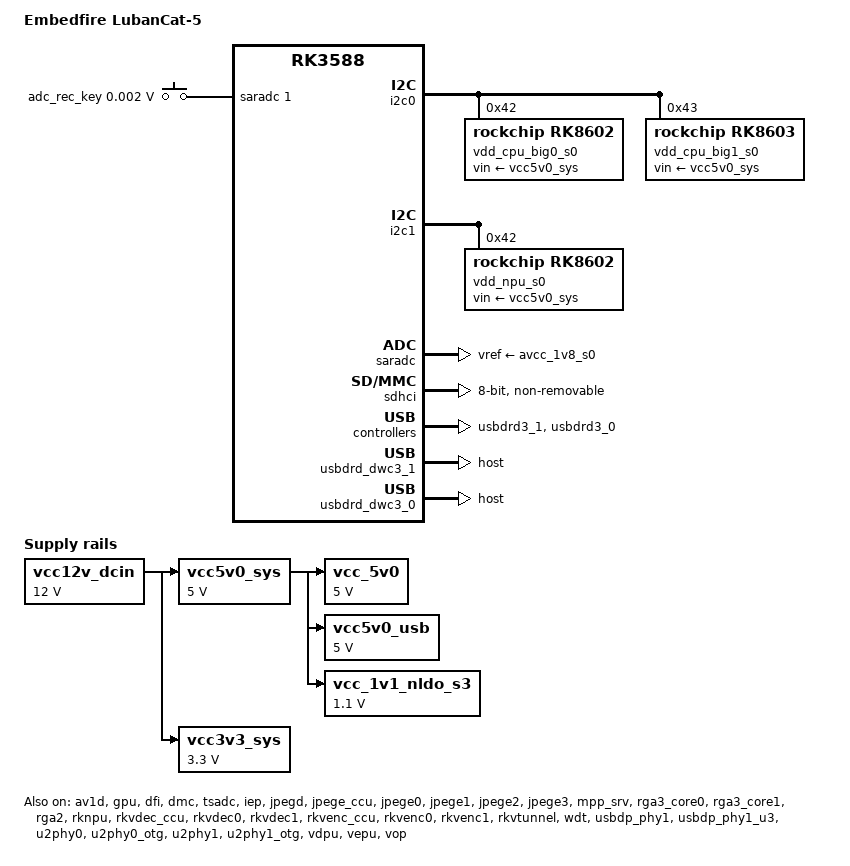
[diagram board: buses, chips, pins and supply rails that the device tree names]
// SPDX-License-Identifier: (GPL-2.0+ OR MIT)
/*
 * Copyright (c) 2021 Rockchip Electronics Co., Ltd.
 * Copyright (c) 2023 EmbedFire <embedfire@embedfire.com>
 */

/dts-v1/;

#include <dt-bindings/usb/pd.h>
#include <dt-bindings/gpio/gpio.h>
#include <dt-bindings/pwm/pwm.h>
#include <dt-bindings/pinctrl/rockchip.h>
//#include <dt-bindings/input/rk-input.h>
#include <dt-bindings/interrupt-controller/irq.h>
#include <dt-bindings/input/linux-event-codes.h>

#include <dt-bindings/display/drm_mipi_dsi.h>

#include <dt-bindings/display/rockchip_vop.h>
#include <dt-bindings/sensor-dev.h>
#include <dt-bindings/phy/jlsemi-dt-phy.h>
#include "rk3588.dtsi"
#include "rk3588-rk806-single.dtsi"
#include "rk3588-linux.dtsi"

//vp0
// #include "rk3588-lubancat-5-hdmi0-vp0.dtsi"
// #include "rk3588-lubancat-5-hdmi1-vp0.dtsi"

//vp1
// #include "rk3588-lubancat-5-dp0-vp1.dtsi"

//vp2 二选一
// #include "rk3588-lubancat-5-dp1-vp2-edp-port.dtsi"
// #include "rk3588-lubancat-5-hdmi1-vp2.dtsi"
// #include "rk3588-lubancat-5-dsi0-vp2-1080x1920-5.5inch-ebf410125.dtsi"
/* Camera */
// #include "rk3588-lubancat-5-csi.dtsi"

// #include "rk3588-lubancat-5-cam0.dtsi"
// #include "rk3588-lubancat-5-cam1.dtsi"
// #include "rk3588-lubancat-5-cam2.dtsi"
// #include "rk3588-lubancat-5-cam3.dtsi"
// #include "rk3588-lubancat-5-cam4.dtsi"
// #include "rk3588-lubancat-5-cam5.dtsi"

/ {
	model = "Embedfire LubanCat-5";
	compatible = "embedfire,rk3588-lubancat-5", "rockchip,rk3588";

	adc_rec_keys: adc-rec-keys {
		compatible = "adc-keys";
		io-channels = <&saradc 1>;
		io-channel-names = "buttons";
		keyup-threshold-microvolt = <1800000>;
		poll-interval = <100>;

		adc-rec-key {
			label = "adc_rec_key";
			linux,code = <250>;
			press-threshold-microvolt = <1750>;
		};
	};

	// leds: leds {
	// 	status = "okay";
	// 	compatible = "gpio-leds";

	// 	sys_led: sys-led {
	// 		label = "sys_led";
	// 		linux,default-trigger = "heartbeat";
	// 		default-state = "on";
	// 		gpios = <&gpio0 RK_PD3 GPIO_ACTIVE_LOW>;
	// 		pinctrl-names = "default";
	// 		pinctrl-0 = <&sys_led_pin>;
	// 	};
	// };

	vcc12v_dcin: vcc12v-dcin {
		compatible = "regulator-fixed";
		regulator-always-on;
		regulator-boot-on;
		regulator-min-microvolt = <12000000>;
		regulator-max-microvolt = <12000000>;
		regulator-name = "vcc12v_dcin";
	};

	vcc5v0_sys: vcc5v0-sys {
		compatible = "regulator-fixed";
		regulator-name = "vcc5v0_sys";
		regulator-always-on;
		regulator-boot-on;
		regulator-min-microvolt = <5000000>;
		regulator-max-microvolt = <5000000>;
		vin-supply = <&vcc12v_dcin>;
	};

	vcc3v3_sys: vcc3v3-sys {
		compatible = "regulator-fixed";
		regulator-name = "vcc3v3_sys";
		regulator-always-on;
		regulator-boot-on;
		regulator-min-microvolt = <3300000>;
		regulator-max-microvolt = <3300000>;
		vin-supply = <&vcc12v_dcin>;
	};

	vcc_5v0: vcc-5v0 {
		compatible = "regulator-fixed";
		regulator-name = "vcc_5v0";
		regulator-always-on;
		regulator-boot-on;
		regulator-min-microvolt = <5000000>;
		regulator-max-microvolt = <5000000>;
		vin-supply = <&vcc5v0_sys>;
	};

	vcc5v0_usb: vcc5v0-usb {
		compatible = "regulator-fixed";
		regulator-name = "vcc_5v0";
		regulator-always-on;
		regulator-boot-on;
		regulator-min-microvolt = <5000000>;
		regulator-max-microvolt = <5000000>;
		vin-supply = <&vcc5v0_sys>;
	};

	// combophy_avdd1v8: combophy-avdd1v8 {
	// 	compatible = "regulator-fixed";
	// 	regulator-name = "combophy_avdd1v8";
	// 	regulator-boot-on;
	// 	regulator-min-microvolt = <1800000>;
	// 	regulator-max-microvolt = <1800000>;
	// 	vin-supply = <&avcc_1v8_s0>;
	// };

	vcc_1v1_nldo_s3: vcc-1v1-nldo-s3 {
		compatible = "regulator-fixed";
		regulator-name = "vcc_1v1_nldo_s3";
		regulator-always-on;
		regulator-boot-on;
		regulator-min-microvolt = <1100000>;
		regulator-max-microvolt = <1100000>;
		vin-supply = <&vcc5v0_sys>;
	};

	// vcc_3v3_s0: vcc-3v3-s0 {
	// 	compatible = "regulator-fixed";
	// 	regulator-name = "vcc_3v3_s0";
	// 	regulator-always-on;
	// 	regulator-boot-on;
	// 	regulator-min-microvolt = <3300000>;
	// 	regulator-max-microvolt = <3300000>;
	// 	vin-supply = <&vcc_3v3_s3>;
	// };

	// vcc_3v3_sd_s3: vcc-3v3-sd-s3 {
	// 	compatible = "regulator-fixed";
	// 	regulator-name = "vcc_3v3_sd_s3";
	// 	regulator-always-on;
	// 	regulator-boot-on;
	// 	regulator-min-microvolt = <3300000>;
	// 	regulator-max-microvolt = <3300000>;
	// 	vin-supply = <&vcc_3v3_s3>;
	// };

	// vbus_typec: vbus-typec {
	// 	compatible = "regulator-fixed";
	// 	regulator-name = "vbus_typec";
	// 	regulator-min-microvolt = <5000000>;
	// 	regulator-max-microvolt = <5000000>;
	// 	enable-active-high;
	// 	gpio = <&gpio2 RK_PB5 GPIO_ACTIVE_HIGH>;
	// 	vin-supply = <&vcc5v0_usb>;
	// 	pinctrl-names = "default";
	// 	pinctrl-0 = <&typec_vbus_en>;
	// };



	// mipi_dsi0_power: mipi-dsi0-power-regulator {
	// 	compatible = "regulator-fixed";
	// 	regulator-name = "mipi_dsi0_power";
	// 	gpio = <&gpio1 RK_PD2 GPIO_ACTIVE_HIGH>;
	// 	enable-active-high;
	// 	regulator-boot-on;
	// 	regulator-always-on;
	// };

	// fan: pwm-fan {
	// 	compatible = "pwm-fan";
	// 	#cooling-cells = <2>;
	// 	pwms = <&pwm4 0 5000 0>;
	// 	cooling-levels = <0 100 150 200 255>;
	// 	rockchip,temp-trips = <
	// 		35000	1
	// 		40000	2
	// 		45000	3
	// 		50000	4
	// 	>;
	// };

	// hdmi0_sound: hdmi0-sound {
	// 	status = "okay";
	// 	compatible = "rockchip,hdmi";
	// 	rockchip,mclk-fs = <128>;
	// 	rockchip,card-name = "rockchip-hdmi0";
	// 	rockchip,cpu = <&i2s5_8ch>;
	// 	rockchip,codec = <&hdmi0>;
	// 	rockchip,jack-det;
	// };

	test-power {
		status = "okay";
	};
};

&av1d {
	status = "okay";
};

&av1d_mmu {
	status = "okay";
};

&cpu_l0 {
	cpu-supply = <&vdd_cpu_lit_s0>;
	mem-supply = <&vdd_cpu_lit_mem_s0>;
};

&cpu_b0 {
	cpu-supply = <&vdd_cpu_big0_s0>;
	mem-supply = <&vdd_cpu_big0_mem_s0>;
};

&cpu_b2 {
	cpu-supply = <&vdd_cpu_big1_s0>;
	mem-supply = <&vdd_cpu_big1_mem_s0>;
};

&gpu {
	mali-supply = <&vdd_gpu_s0>;
	mem-supply = <&vdd_gpu_mem_s0>;
	upthreshold = <60>;
	downdifferential = <30>;
	status = "okay";
};

&dfi {
	status = "okay";
};

&dmc {
	status = "okay";
	center-supply = <&vdd_ddr_s0>;
	mem-supply = <&vdd_log_s0>;
};

// &rockchip_suspend {
// 	status = "okay";
// 	rockchip,sleep-debug-en = <1>;
// 	rockchip,sleep-mode-config = <
// 		(0
// 		| RKPM_SLP_ARMOFF_DDRPD
// 		| RKPM_SLP_PMU_PMUALIVE_32K
// 		| RKPM_SLP_PMU_DIS_OSC
// 		| RKPM_SLP_32K_EXT
// 		)
// 	>;
// 	rockchip,wakeup-config = <
// 		(0
// 		| RKPM_GPIO_WKUP_EN
// 		| RKPM_CPU0_WKUP_EN
// 		)
// 	>;
// };

&i2c0 {
	pinctrl-names = "default";
	pinctrl-0 = <&i2c0m2_xfer>;
	status = "okay";

	vdd_cpu_big0_s0: vdd_cpu_big0_mem_s0: rk8602@42 {
		compatible = "rockchip,rk8602";
		reg = <0x42>;
		vin-supply = <&vcc5v0_sys>;
		regulator-compatible = "rk860x-reg";
		regulator-name = "vdd_cpu_big0_s0";
		regulator-min-microvolt = <550000>;
		regulator-max-microvolt = <1050000>;
		regulator-ramp-delay = <2300>;
		rockchip,suspend-voltage-selector = <1>;
		regulator-boot-on;
		regulator-always-on;
		regulator-state-mem {
			regulator-off-in-suspend;
		};
	};

	vdd_cpu_big1_s0: vdd_cpu_big1_mem_s0: rk8603@43 {
		compatible = "rockchip,rk8603";
		reg = <0x43>;
		vin-supply = <&vcc5v0_sys>;
		regulator-compatible = "rk860x-reg";
		regulator-name = "vdd_cpu_big1_s0";
		regulator-min-microvolt = <550000>;
		regulator-max-microvolt = <1050000>;
		regulator-ramp-delay = <2300>;
		rockchip,suspend-voltage-selector = <1>;
		regulator-boot-on;
		regulator-always-on;
		regulator-state-mem {
			regulator-off-in-suspend;
		};
	};
};

&i2c1 {
	pinctrl-names = "default";
	pinctrl-0 = <&i2c1m2_xfer>;
	status = "okay";

	vdd_npu_s0: vdd_npu_mem_s0: rk8602@42 {
		compatible = "rockchip,rk8602";
		reg = <0x42>;
		vin-supply = <&vcc5v0_sys>;
		regulator-compatible = "rk860x-reg";
		regulator-name = "vdd_npu_s0";
		regulator-min-microvolt = <550000>;
		regulator-max-microvolt = <950000>;
		regulator-ramp-delay = <2300>;
		rockchip,suspend-voltage-selector = <1>;
		regulator-boot-on;
		regulator-always-on;
		regulator-state-mem {
			regulator-off-in-suspend;
		};
	};
};

// &spi2 {
// 	status = "okay";
// 	assigned-clocks = <&cru CLK_SPI2>;
// 	assigned-clock-rates = <200000000>;
// 	pinctrl-names = "default";
// 	pinctrl-0 = <&spi2m2_cs0 &spi2m2_pins>;
// 	num-cs = <1>;

// 	rk806single@0 {
// 		compatible = "rockchip,rk806";
// 		spi-max-frequency = <1000000>;
// 		reg = <0x0>;

// 		interrupt-parent = <&gpio0>;
// 		interrupts = <RK_PA7 IRQ_TYPE_LEVEL_LOW>;

// 		pinctrl-names = "default", "pmic-power-off";
// 		pinctrl-0 = <&pmic_pins>, <&rk806_dvs1_null>, <&rk806_dvs2_null>, <&rk806_dvs3_null>;
// 		pinctrl-1 = <&rk806_dvs1_pwrdn>;

// 		/* 2800mv-3500mv */
// 		low_voltage_threshold = <3000>;
// 		/* 2700mv-3400mv */
// 		shutdown_voltage_threshold = <2700>;
// 		/* 140 160 */
// 		shutdown_temperture_threshold = <160>;
// 		hotdie_temperture_threshold = <115>;

// 		/* 0: restart PMU;
// 		 * 1: reset all the power off reset registers,
// 		 *	forcing the state to switch to ACTIVE mode;
// 		 * 2: Reset all the power off reset registers,
// 		 *	forcing the state to switch to ACTIVE mode,
// 		 *	and simultaneously pull down the RESETB PIN for 5mS before releasing
// 		 */
// 		pmic-reset-func = <1>;

// 		vcc1-supply = <&vcc5v0_sys>;
// 		vcc2-supply = <&vcc5v0_sys>;
// 		vcc3-supply = <&vcc5v0_sys>;
// 		vcc4-supply = <&vcc5v0_sys>;
// 		vcc5-supply = <&vcc5v0_sys>;
// 		vcc6-supply = <&vcc5v0_sys>;
// 		vcc7-supply = <&vcc5v0_sys>;
// 		vcc8-supply = <&vcc5v0_sys>;
// 		vcc9-supply = <&vcc5v0_sys>;
// 		vcc10-supply = <&vcc5v0_sys>;
// 		vcc11-supply = <&vcc_2v0_pldo_s3>;
// 		vcc12-supply = <&vcc5v0_sys>;
// 		vcc13-supply = <&vcc_1v1_nldo_s3>;
// 		vcc14-supply = <&vcc_1v1_nldo_s3>;
// 		vcca-supply = <&vcc5v0_sys>;

// 		pwrkey {
// 			status = "okay";
// 		};

// 		pinctrl_rk806: pinctrl_rk806 {
// 			gpio-controller;
// 			#gpio-cells = <2>;

// 			rk806_dvs1_null: rk806_dvs1_null {
// 				pins = "gpio_pwrctrl2";
// 				function = "pin_fun0";
// 			};

// 			rk806_dvs1_slp: rk806_dvs1_slp {
// 				pins = "gpio_pwrctrl1";
// 				function = "pin_fun1";
// 			};

// 			rk806_dvs1_pwrdn: rk806_dvs1_pwrdn {
// 				pins = "gpio_pwrctrl1";
// 				function = "pin_fun2";
// 			};

// 			rk806_dvs1_rst: rk806_dvs1_rst {
// 				pins = "gpio_pwrctrl1";
// 				function = "pin_fun3";
// 			};

// 			rk806_dvs2_null: rk806_dvs2_null {
// 				pins = "gpio_pwrctrl2";
// 				function = "pin_fun0";
// 			};

// 			rk806_dvs2_slp: rk806_dvs2_slp {
// 				pins = "gpio_pwrctrl2";
// 				function = "pin_fun1";
// 			};

// 			rk806_dvs2_pwrdn: rk806_dvs2_pwrdn {
// 				pins = "gpio_pwrctrl2";
// 				function = "pin_fun2";
// 			};

// 			rk806_dvs2_rst: rk806_dvs2_rst {
// 				pins = "gpio_pwrctrl2";
// 				function = "pin_fun3";
// 			};

// 			rk806_dvs2_dvs: rk806_dvs2_dvs {
// 				pins = "gpio_pwrctrl2";
// 				function = "pin_fun4";
// 			};

// 			rk806_dvs2_gpio: rk806_dvs2_gpio {
// 				pins = "gpio_pwrctrl2";
// 				function = "pin_fun5";
// 			};

// 			rk806_dvs3_null: rk806_dvs3_null {
// 				pins = "gpio_pwrctrl3";
// 				function = "pin_fun0";
// 			};

// 			rk806_dvs3_slp: rk806_dvs3_slp {
// 				pins = "gpio_pwrctrl3";
// 				function = "pin_fun1";
// 			};

// 			rk806_dvs3_pwrdn: rk806_dvs3_pwrdn {
// 				pins = "gpio_pwrctrl3";
// 				function = "pin_fun2";
// 			};

// 			rk806_dvs3_rst: rk806_dvs3_rst {
// 				pins = "gpio_pwrctrl3";
// 				function = "pin_fun3";
// 			};

// 			rk806_dvs3_dvs: rk806_dvs3_dvs {
// 				pins = "gpio_pwrctrl3";
// 				function = "pin_fun4";
// 			};

// 			rk806_dvs3_gpio: rk806_dvs3_gpio {
// 				pins = "gpio_pwrctrl3";
// 				function = "pin_fun5";
// 			};
// 		};

// 		regulators {
// 			vdd_gpu_s0: vdd_gpu_mem_s0: DCDC_REG1 {
// 				regulator-boot-on;
// 				regulator-min-microvolt = <550000>;
// 				regulator-max-microvolt = <950000>;
// 				regulator-ramp-delay = <12500>;
// 				regulator-name = "vdd_gpu_s0";
// 				regulator-enable-ramp-delay = <400>;
// 				regulator-state-mem {
// 					regulator-off-in-suspend;
// 				};
// 			};

// 			vdd_cpu_lit_s0: vdd_cpu_lit_mem_s0: DCDC_REG2 {
// 				regulator-always-on;
// 				regulator-boot-on;
// 				regulator-min-microvolt = <550000>;
// 				regulator-max-microvolt = <950000>;
// 				regulator-ramp-delay = <12500>;
// 				regulator-name = "vdd_cpu_lit_s0";
// 				regulator-state-mem {
// 					regulator-off-in-suspend;
// 				};
// 			};

// 			vdd_log_s0: DCDC_REG3 {
// 				regulator-always-on;
// 				regulator-boot-on;
// 				regulator-min-microvolt = <675000>;
// 				regulator-max-microvolt = <800000>;
// 				regulator-ramp-delay = <12500>;
// 				regulator-name = "vdd_log_s0";
// 				regulator-state-mem {
// 					regulator-off-in-suspend;
// 					regulator-suspend-microvolt = <750000>;
// 				};
// 			};

// 			vdd_vdenc_s0: vdd_vdenc_mem_s0: DCDC_REG4 {
// 				regulator-always-on;
// 				regulator-boot-on;
// 				regulator-min-microvolt = <550000>;
// 				regulator-max-microvolt = <950000>;
// 				regulator-init-microvolt = <750000>;
// 				regulator-ramp-delay = <12500>;
// 				regulator-name = "vdd_vdenc_s0";
// 				regulator-state-mem {
// 					regulator-off-in-suspend;
// 				};
// 			};

// 			vdd_ddr_s0: DCDC_REG5 {
// 				regulator-always-on;
// 				regulator-boot-on;
// 				regulator-min-microvolt = <675000>;
// 				regulator-max-microvolt = <900000>;
// 				regulator-ramp-delay = <12500>;
// 				regulator-name = "vdd_ddr_s0";
// 				regulator-state-mem {
// 					regulator-off-in-suspend;
// 					regulator-suspend-microvolt = <850000>;
// 				};
// 			};

// 			vdd2_ddr_s3: DCDC_REG6 {
// 				regulator-always-on;
// 				regulator-boot-on;
// 				regulator-name = "vdd2_ddr_s3";
// 				regulator-state-mem {
// 					regulator-on-in-suspend;
// 				};
// 			};

// 			vcc_2v0_pldo_s3: DCDC_REG7 {
// 				regulator-always-on;
// 				regulator-boot-on;
// 				regulator-min-microvolt = <2000000>;
// 				regulator-max-microvolt = <2000000>;
// 				regulator-name = "vdd_2v0_pldo_s3";
// 				regulator-state-mem {
// 					regulator-on-in-suspend;
// 					regulator-suspend-microvolt = <2000000>;
// 				};
// 			};

// 			vcc_3v3_s3: DCDC_REG8 {
// 				regulator-always-on;
// 				regulator-boot-on;
// 				regulator-min-microvolt = <3300000>;
// 				regulator-max-microvolt = <3300000>;
// 				regulator-name = "vcc_3v3_s3";
// 				regulator-state-mem {
// 					regulator-on-in-suspend;
// 					regulator-suspend-microvolt = <3300000>;
// 				};
// 			};

// 			vddq_ddr_s0: DCDC_REG9 {
// 				regulator-always-on;
// 				regulator-boot-on;
// 				regulator-name = "vddq_ddr_s0";
// 				regulator-state-mem {
// 					regulator-off-in-suspend;
// 				};
// 			};

// 			vcc_1v8_s3: DCDC_REG10 {
// 				regulator-always-on;
// 				regulator-boot-on;
// 				regulator-min-microvolt = <1800000>;
// 				regulator-max-microvolt = <1800000>;
// 				regulator-name = "vcc_1v8_s3";
// 				regulator-state-mem {
// 					regulator-on-in-suspend;
// 					regulator-suspend-microvolt = <1800000>;
// 				};
// 			};

// 			avcc_1v8_s0: PLDO_REG1 {
// 				regulator-always-on;
// 				regulator-boot-on;
// 				regulator-min-microvolt = <1800000>;
// 				regulator-max-microvolt = <1800000>;
// 				regulator-name = "avcc_1v8_s0";
// 				regulator-state-mem {
// 					regulator-on-in-suspend;
// 					regulator-suspend-microvolt = <1800000>;
// 				};
// 			};

// 			vcc_1v8_s0: PLDO_REG2 {
// 				regulator-always-on;
// 				regulator-boot-on;
// 				regulator-min-microvolt = <1800000>;
// 				regulator-max-microvolt = <1800000>;
// 				regulator-name = "vcc_1v8_s0";
// 				regulator-state-mem {
// 					regulator-off-in-suspend;
// 				};
// 			};

// 			avdd_1v2_s0: PLDO_REG3 {
// 				regulator-always-on;
// 				regulator-boot-on;
// 				regulator-min-microvolt = <1200000>;
// 				regulator-max-microvolt = <1200000>;
// 				regulator-name = "avdd_1v2_s0";
// 				regulator-state-mem {
// 					regulator-off-in-suspend;
// 				};
// 			};

// 			avcc_3v3_s0: PLDO_REG4 {
// 				regulator-always-on;
// 				regulator-boot-on;
// 				regulator-min-microvolt = <3300000>;
// 				regulator-max-microvolt = <3300000>;
// 				regulator-name = "avcc_3v3_s0";
// 				regulator-state-mem {
// 					regulator-off-in-suspend;
// 				};
// 			};

// 			vccio_sd_s0: PLDO_REG5 {
// 				regulator-always-on;
// 				regulator-boot-on;
// 				regulator-min-microvolt = <1800000>;
// 				regulator-max-microvolt = <3300000>;
// 				regulator-name = "vccio_sd_s0";
// 				regulator-state-mem {
// 					regulator-off-in-suspend;
// 				};
// 			};

// 			pldo6_s3: PLDO_REG6 {
// 				regulator-always-on;
// 				regulator-boot-on;
// 				regulator-min-microvolt = <1800000>;
// 				regulator-max-microvolt = <1800000>;
// 				regulator-name = "pldo6_s3";
// 				regulator-state-mem {
// 					regulator-on-in-suspend;
// 					regulator-suspend-microvolt = <1800000>;
// 				};
// 			};

// 			vdd_0v75_s3: NLDO_REG1 {
// 				regulator-always-on;
// 				regulator-boot-on;
// 				regulator-min-microvolt = <750000>;
// 				regulator-max-microvolt = <750000>;
// 				regulator-name = "vdd_0v75_s3";
// 				regulator-state-mem {
// 					regulator-on-in-suspend;
// 					regulator-suspend-microvolt = <750000>;
// 				};
// 			};

// 			avdd_ddr_pll_s0: NLDO_REG2 {
// 				regulator-always-on;
// 				regulator-boot-on;
// 				regulator-min-microvolt = <850000>;
// 				regulator-max-microvolt = <850000>;
// 				regulator-name = "avdd_ddr_pll_s0";
// 				regulator-state-mem {
// 					regulator-off-in-suspend;
// 					regulator-suspend-microvolt = <850000>;
// 				};
// 			};

// 			avdd_0v75_s0: NLDO_REG3 {
// 				regulator-always-on;
// 				regulator-boot-on;
// 				regulator-min-microvolt = <837500>;
// 				regulator-max-microvolt = <837500>;
// 				regulator-name = "avdd_0v75_s0";
// 				regulator-state-mem {
// 					regulator-off-in-suspend;
// 				};
// 			};

// 			avdd_0v85_s0: NLDO_REG4 {
// 				regulator-always-on;
// 				regulator-boot-on;
// 				regulator-min-microvolt = <850000>;
// 				regulator-max-microvolt = <850000>;
// 				regulator-name = "avdd_0v85_s0";
// 				regulator-state-mem {
// 					regulator-off-in-suspend;
// 				};
// 			};

// 			vdd_0v75_s0: NLDO_REG5 {
// 				regulator-always-on;
// 				regulator-boot-on;
// 				regulator-min-microvolt = <750000>;
// 				regulator-max-microvolt = <750000>;
// 				regulator-name = "vdd_0v75_s0";
// 				regulator-state-mem {
// 					regulator-off-in-suspend;
// 				};
// 			};
// 		};
// 	};
// };

&saradc {
	status = "okay";
	vref-supply = <&avcc_1v8_s0>;
};

&tsadc {
	status = "okay";
};

&sdhci {
	bus-width = <8>;
	no-sdio;
	no-sd;
	non-removable;
	max-frequency = <200000000>;
	mmc-hs400-1_8v;
	mmc-hs400-enhanced-strobe;
	full-pwr-cycle-in-suspend;
	status = "okay";
};

// &sdmmc {
// 	max-frequency = <200000000>;
// 	no-sdio;
// 	no-mmc;
// 	bus-width = <4>;
// 	cap-mmc-highspeed;
// 	cap-sd-highspeed;
// 	disable-wp;
// 	sd-uhs-sdr104;
// 	vmmc-supply = <&vcc_3v3_sd_s3>;
// 	vqmmc-supply = <&vccio_sd_s0>;
// 	pinctrl-names = "default";
// 	pinctrl-0 = <&sdmmc_bus4 &sdmmc_clk &sdmmc_cmd &sdmmc_det>;
// 	status = "okay";
// };

&iep {
	status = "okay";
};

&iep_mmu {
	status = "okay";
};

&jpegd {
	status = "okay";
};

&jpegd_mmu {
	status = "okay";
};

&jpege_ccu {
	status = "okay";
};

&jpege0 {
	status = "okay";
};

&jpege0_mmu {
	status = "okay";
};

&jpege1 {
	status = "okay";
};

&jpege1_mmu {
	status = "okay";
};

&jpege2 {
	status = "okay";
};

&jpege2_mmu {
	status = "okay";
};

&jpege3 {
	status = "okay";
};

&jpege3_mmu {
	status = "okay";
};

&mpp_srv {
	status = "okay";
};

&rga3_core0 {
	status = "okay";
};

&rga3_0_mmu {
	status = "okay";
};

&rga3_core1 {
	status = "okay";
};

&rga3_1_mmu {
	status = "okay";
};

&rga2 {
	status = "okay";
};

&rknpu {
	rknpu-supply = <&vdd_npu_s0>;
	mem-supply = <&vdd_npu_mem_s0>;
	status = "okay";
};

&rknpu_mmu {
	status = "okay";
};

&rkvdec_ccu {
	status = "okay";
};

&rkvdec0 {
	status = "okay";
};

&rkvdec0_mmu {
	status = "okay";
};

&rkvdec1 {
	status = "okay";
};

&rkvdec1_mmu {
	status = "okay";
};

&rkvenc_ccu {
	status = "okay";
};

&rkvenc0 {
	status = "okay";
};

&rkvenc0_mmu {
	status = "okay";
};

&rkvenc1 {
	status = "okay";
};

&rkvenc1_mmu {
	status = "okay";
};

&rkvtunnel {
	status = "okay";
};

/* this is a watchdog */
&wdt {
	status = "okay";
};

// &gmac0 {
// 	/* Use rgmii-rxid mode to disable rx delay inside Soc */
// 	phy-mode = "rgmii-rxid";
// 	clock_in_out = "output";

// 	snps,reset-gpio = <&gpio4 RK_PC6 GPIO_ACTIVE_LOW>;
// 	snps,reset-active-low;
// 	/* Reset time is 20ms, 100ms for rtl8211f */
// 	snps,reset-delays-us = <0 20000 100000>;

// 	pinctrl-names = "default";
// 	pinctrl-0 = <&gmac0_miim
// 			 &gmac0_tx_bus2
// 			 &gmac0_rx_bus2
// 			 &gmac0_rgmii_clk
// 			 &gmac0_rgmii_bus>;

// 	tx_delay = <0x20>;
// 	/* rx_delay = <0x4f>; */

// 	phy-handle = <&rgmii_phy0>;
// 	status = "okay";
// };

// &gmac1 {
// 	/* Use rgmii-rxid mode to disable rx delay inside Soc */
// 	phy-mode = "rgmii-rxid";
// 	clock_in_out = "output";

// 	snps,reset-gpio = <&gpio3 RK_PB7 GPIO_ACTIVE_LOW>;
// 	snps,reset-active-low;
// 	/* Reset time is 20ms, 100ms for rtl8211f */
// 	snps,reset-delays-us = <0 20000 100000>;

// 	pinctrl-names = "default";
// 	pinctrl-0 = <&gmac1_miim
// 			 &gmac1_tx_bus2
// 			 &gmac1_rx_bus2
// 			 &gmac1_rgmii_clk
// 			 &gmac1_rgmii_bus>;

// 	tx_delay = <0x20>;
// 	/* rx_delay = <0x4f>; */

// 	phy-handle = <&rgmii_phy1>;
// 	status = "okay";
// };

// &mdio0 {
// 	rgmii_phy0: phy@0 {
// 		compatible = "ethernet-phy-ieee802.3-c22";
// 		reg = <0x00>;
// 		realtek,clkout-disable;
// 		jl2xxx,led-enable = <(JL2XXX_LED_STATIC_OP_EN | JL1XXX_LED_MODE_EN)>;
// 		jl2xxx,led-mode = <(JL2XXX_LED1_LINK10  | \
// 				 JL2XXX_LED1_LINK100  | \
// 				 JL2XXX_LED1_LINK1000 | \
// 				 JL2XXX_LED2_LINK10   | \
// 				 JL2XXX_LED2_LINK100  | \
// 				 JL2XXX_LED2_LINK1000 | \
// 				 JL2XXX_LED2_ACTIVITY )>; //JL PHY
// 		realtek,led-data = <0x6d60>;  //8211F phy
// 	};
// };

// &mdio1 {
// 	rgmii_phy1: phy@0 {
// 		compatible = "ethernet-phy-ieee802.3-c22";
// 		reg = <0x0>;
// 		realtek,clkout-disable;
// 		jl2xxx,led-enable = <(JL2XXX_LED_STATIC_OP_EN | JL1XXX_LED_MODE_EN)>;
// 		jl2xxx,led-mode = <(JL2XXX_LED1_LINK10  | \
// 				 JL2XXX_LED1_LINK100  | \
// 				 JL2XXX_LED1_LINK1000 | \
// 				 JL2XXX_LED2_LINK10   | \
// 				 JL2XXX_LED2_LINK100  | \
// 				 JL2XXX_LED2_LINK1000 | \
// 				 JL2XXX_LED2_ACTIVITY )>; //JL PHY
// 		realtek,led-data = <0x6d60>;  //8211F phy
// 	};
// };

// // NVME
// /* PCIe30 PHY Port0 & Port1 */
// &pcie30phy {
// 	rockchip,pcie30-phymode = <PHY_MODE_PCIE_AGGREGATION>;
// 	status = "okay";
// };

// // PCIe30 Port0 & Port1: M.2 M-Key
// &pcie3x4 {
// 	reset-gpios = <&gpio1 RK_PB2 GPIO_ACTIVE_HIGH>;
// 	vpcie3v3-supply = <&vcc3v3_sys>;
// 	status = "okay";
// };


// // WIFI

// /* SATA30_HOST0/PCIe20x1_2 Combo PHY */
// &combphy0_ps {
// 	status = "okay";
// };

// &pcie2x1l2 {
// 	reset-gpios = <&gpio4 RK_PA5 GPIO_ACTIVE_HIGH>;
// 	vpcie3v3-supply = <&vcc3v3_sys>;
// 	rockchip,skip-scan-in-resume;
// 	status = "okay";
// };


// // // Mini-PCIe
// /* SATA30_HOST1/PCIe20x1_0 Combo PHY */
// &combphy1_ps {
// 	status = "okay";
// };

// &pcie2x1l0 {
// 	reset-gpios = <&gpio3 RK_PD1 GPIO_ACTIVE_HIGH>;
// 	disable-gpios = <&gpio3 RK_PC1 GPIO_ACTIVE_HIGH>;
// 	vpcie3v3-supply = <&vcc3v3_sys>;
// 	rockchip,skip-scan-in-resume;
// 	status = "okay";
// };
/* USB3.1/DP Combo PHY1 */
&usbdp_phy1 {
	status = "okay";
};

&usbdp_phy1_u3 {
	status = "okay";
};

&usbdrd3_1 {
	status = "okay";
};

&usbdrd_dwc3_1 {
	status = "okay";
	dr_mode = "host";
};


/* USB3.1 OTG0 Controller  */
&usbdrd3_0 {
	status = "okay";
};

&usbdrd_dwc3_0 {
	dr_mode = "host";
	status = "okay";
};

/* USB2.0 PHY0 */
&u2phy0 {
	status = "okay";
};

&u2phy0_otg {
	rockchip,typec-vbus-det;
	status = "okay";
};

&u2phy1 {
	status = "okay";
};

&u2phy1_otg {
	status = "okay";
};

// /* USB30_HOST2/SATA30_HOST2/PCIe20x1_1 Combo PHY */
// &combphy2_psu {
// 	status = "okay";
// };

// /* USB3.1 HOST2 Controller  */
// &usbhost3_0 {
// 	status = "okay";
// };

// &usbhost_dwc3_0 {
// 	dr_mode = "host";
// 	status = "okay";
// };

// /* USB2.0 HOST0 PHY2 */
// &u2phy2 {
// 	status = "okay";
// };

// &u2phy2_host {
// 	phy-supply = <&vcc5v0_usb>;
// 	status = "okay";
// };

// /* USB2.0 HOST0 Controller */
// &usb_host0_ehci {
// 	status = "okay";
// };

// &usb_host0_ohci {
// 	status = "okay";
// };

// /* USB2.0 HOST1 PHY3 */
// &u2phy3 {
// 	status = "okay";
// };

// &u2phy3_host {
// 	phy-supply = <&vcc5v0_usb>;
// 	status = "okay";
// };

// /* USB2.0 HOST1 Controller */
// &usb_host1_ehci {
// 	status = "okay";
// };

// &usb_host1_ohci {
// 	status = "okay";
// };

&vdpu {
	status = "okay";
};

&vdpu_mmu {
	status = "okay";
};

&vepu {
	status = "okay";
};

&vop {
	status = "okay";
	vop-supply = <&vdd_log_s0>;
	// disable-win-move;
};

&vop_mmu {
	status = "okay";
};

// /* vp0 & vp1 splice for 8K output */
// &vp0 {
// 	rockchip,plane-mask = <(1 << ROCKCHIP_VOP2_CLUSTER0 | 1 << ROCKCHIP_VOP2_ESMART0)>;
// 	rockchip,primary-plane = <ROCKCHIP_VOP2_ESMART0>;
// 	// cursor-win-id = <ROCKCHIP_VOP2_CLUSTER0>;
// };

// &vp1 {
// 	rockchip,plane-mask = <(1 << ROCKCHIP_VOP2_CLUSTER1 | 1 << ROCKCHIP_VOP2_ESMART1)>;
// 	rockchip,primary-plane = <ROCKCHIP_VOP2_ESMART1>;
// 	cursor-win-id = <ROCKCHIP_VOP2_CLUSTER1>;
// };

// &vp2 {
// 	rockchip,plane-mask = <(1 << ROCKCHIP_VOP2_CLUSTER2 | 1 << ROCKCHIP_VOP2_ESMART2)>;
// 	rockchip,primary-plane = <ROCKCHIP_VOP2_ESMART2>;
// 	cursor-win-id = <ROCKCHIP_VOP2_CLUSTER2>;
// };

// &vp3 {
// 	rockchip,plane-mask = <(1 << ROCKCHIP_VOP2_CLUSTER3 | 1 << ROCKCHIP_VOP2_ESMART3)>;
// 	rockchip,primary-plane = <ROCKCHIP_VOP2_ESMART3>;
// 	cursor-win-id = <ROCKCHIP_VOP2_CLUSTER3>;
// };


// //HDMI_0_start
// &display_subsystem {
// 	clocks = <&hdptxphy_hdmi0>;
// 	clock-names = "hdmi0_phy_pll";
// };

// &hdptxphy_hdmi0 {
// 	status = "okay";
// };
// &i2s5_8ch {
// 	status = "okay";
// };

// &route_hdmi0{
// 	status = "okay";
// 	connect = <&vp0_out_hdmi0>;
// };

// &hdmi0 {
// 	enable-gpios = <&gpio4 RK_PB1 GPIO_ACTIVE_HIGH>;
// 	status = "okay";
// };

// &hdmi0_in_vp0 {
// 	status = "okay";
// };

// &hdmi0_in_vp1 {
// 	status = "disabled";
// };

// &hdmi0_in_vp2 {
// 	status = "disabled";
// };

// &hdptxphy_hdmi0 {
// 	status = "okay";
// };

// //HDMI_0_end



// &pinctrl {
// 	// hym8563 {
// 	// 	hym8563_int: hym8563-int {
// 	// 		rockchip,pins = <0 RK_PB0 RK_FUNC_GPIO &pcfg_pull_up>;
// 	// 	};
// 	// };
// 	// vcc-5g-en{
// 	// 	VCC5G_mode_en: VCC5G-mode-en {
// 	// 		rockchip,pins = <1 RK_PA6 RK_FUNC_GPIO &pcfg_pull_none>;
// 	// 	};
// 	// };

// 	// leds {
// 	// 	sys_led_pin: sys-led-pin {
// 	// 		rockchip,pins = <0 RK_PD3 RK_FUNC_GPIO &pcfg_pull_none>;
// 	// 	};
// 	// };

// 	// pcie {
// 	// 	pcie_disable_pin: pcie-disable-pin{
// 	// 		rockchip,pins = <3 RK_PC1 RK_FUNC_GPIO &pcfg_pull_up>;
// 	// 	};
// 	// };

// 	// dsi {
// 	// 	dsi0_reset: dsi0-reset {
// 	// 		rockchip,pins = <1 RK_PA4 RK_FUNC_GPIO &pcfg_pull_up>;
// 	// 	};
// 	// };
// };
